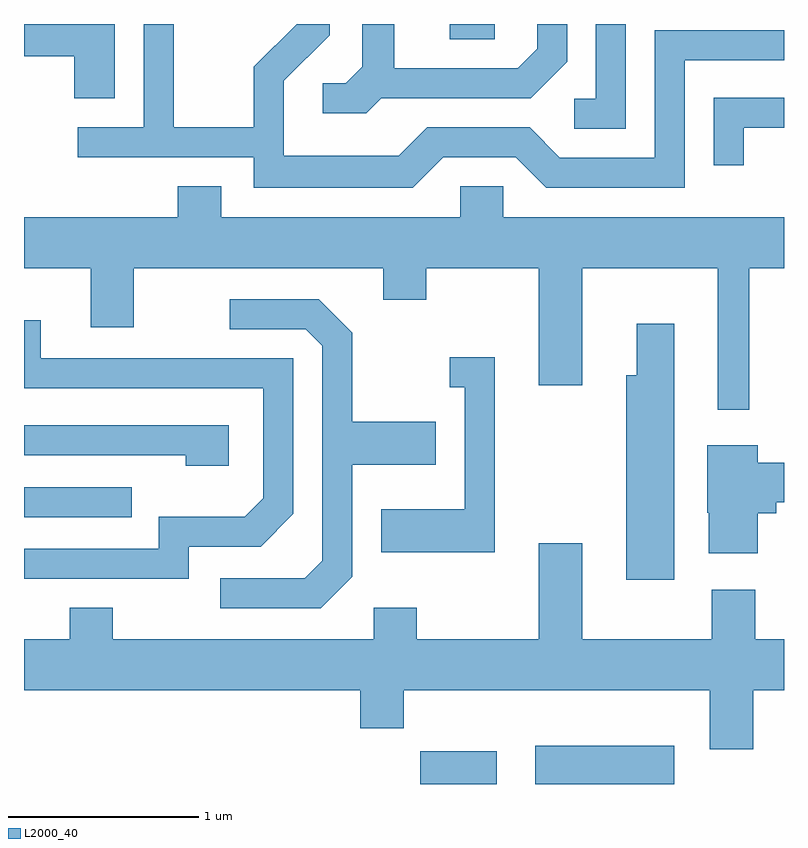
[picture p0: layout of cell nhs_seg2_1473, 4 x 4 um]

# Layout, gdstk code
import gdstk
lib = gdstk.Library(unit=1e-6, precision=1e-09)
def R(c, l, rs):  # rectangles x0, y0, x1, y1
    for r in rs: c.add(gdstk.rectangle(r[:2], r[2:], *l))
def P(c, l, *ps):  # polygons
    for p in ps: c.add(gdstk.Polygon(p, *l))
L2000_40 = (2000, 40)

nhs_seg2_1473 = lib.new_cell('nhs_seg2_1473')
R(nhs_seg2_1473, L2000_40, [(229.696,1067.802,230.099,1067.974), (230.301,1067.802,231.034,1068.004), (227.611,1069.206,228.178,1069.364), (229.851,1071.721,230.089,1071.802)])
P(nhs_seg2_1473, L2000_40, [(229.492,1071.411),(230.277,1071.411),(230.469,1071.604),(230.469,1071.802),(230.311,1071.802),(230.311,1071.672),(230.209,1071.569),(229.559,1071.569),(229.559,1071.802),(229.391,1071.802),(229.391,1071.577),(229.304,1071.489),(229.183,1071.489),(229.183,1071.331),(229.412,1071.331)],
  [(230.779,1071.802),(230.621,1071.802),(230.621,1071.409),(230.508,1071.409),(230.508,1071.251),(230.779,1071.251)],
  [(229.817,1071.101),(230.199,1071.101),(230.359,1070.941),(231.089,1070.941),(231.089,1071.611),(231.611,1071.611),(231.611,1071.769),(230.931,1071.769),(230.931,1071.099),(230.432,1071.099),(230.272,1071.259),(229.734,1071.259),(229.584,1071.109),(228.979,1071.109),(228.979,1071.504),(229.219,1071.744),(229.219,1071.802),(229.046,1071.802),(228.821,1071.577),(228.821,1071.259),(228.399,1071.259),(228.399,1071.802),(228.241,1071.802),(228.241,1071.259),(227.893,1071.259),(227.893,1071.101),(228.821,1071.101),(228.821,1070.941),(229.657,1070.941)],
  [(228.089,1071.802),(227.611,1071.802),(227.611,1071.631),(227.876,1071.631),(227.876,1071.411),(228.089,1071.411)],
  [(231.399,1071.256),(231.611,1071.256),(231.611,1071.414),(231.241,1071.414),(231.241,1071.058),(231.399,1071.058)],
  [(231.429,1070.516),(231.611,1070.516),(231.611,1070.784),(230.134,1070.784),(230.134,1070.949),(229.906,1070.949),(229.906,1070.784),(228.649,1070.784),(228.649,1070.949),(228.421,1070.949),(228.421,1070.784),(227.611,1070.784),(227.611,1070.516),(227.961,1070.516),(227.961,1070.206),(228.189,1070.206),(228.189,1070.516),(229.501,1070.516),(229.501,1070.351),(229.729,1070.351),(229.729,1070.516),(230.321,1070.516),(230.321,1069.901),(230.549,1069.901),(230.549,1070.516),(231.261,1070.516),(231.261,1069.773),(231.429,1069.773)],
  [(229.339,1068.894),(229.339,1069.481),(229.779,1069.481),(229.779,1069.709),(229.339,1069.709),(229.339,1070.177),(229.162,1070.354),(228.693,1070.354),(228.693,1070.196),(229.094,1070.196),(229.181,1070.109),(229.181,1068.977),(229.089,1068.884),(228.643,1068.884),(228.643,1068.726),(229.172,1068.726)],
  [(228.479,1069.051),(228.857,1069.051),(229.029,1069.224),(229.029,1070.044),(227.699,1070.044),(227.699,1070.243),(227.611,1070.243),(227.611,1069.886),(228.871,1069.886),(228.871,1069.307),(228.774,1069.209),(228.321,1069.209),(228.321,1069.039),(227.611,1069.039),(227.611,1068.881),(228.479,1068.881)],
  [(231.034,1070.224),(230.836,1070.224),(230.836,1069.954),(230.781,1069.954),(230.781,1068.876),(231.034,1068.876)],
  [(230.089,1070.049),(229.853,1070.049),(229.853,1069.891),(229.931,1069.891),(229.931,1069.249),(229.491,1069.249),(229.491,1069.021),(230.089,1069.021)],
  [(228.689,1069.689),(227.611,1069.689),(227.611,1069.531),(228.461,1069.531),(228.461,1069.476),(228.689,1069.476)],
  [(231.474,1069.226),(231.569,1069.226),(231.569,1069.286),(231.611,1069.286),(231.611,1069.494),(231.474,1069.494),(231.474,1069.584),(231.206,1069.584),(231.206,1069.23),(231.216,1069.23),(231.216,1069.016),(231.474,1069.016)],
  [(231.449,1068.296),(231.611,1068.296),(231.611,1068.564),(231.459,1068.564),(231.459,1068.824),(231.231,1068.824),(231.231,1068.564),(230.549,1068.564),(230.549,1069.069),(230.321,1069.069),(230.321,1068.564),(229.679,1068.564),(229.679,1068.729),(229.451,1068.729),(229.451,1068.564),(228.079,1068.564),(228.079,1068.729),(227.851,1068.729),(227.851,1068.564),(227.611,1068.564),(227.611,1068.296),(229.381,1068.296),(229.381,1068.096),(229.609,1068.096),(229.609,1068.296),(231.221,1068.296),(231.221,1067.986),(231.449,1067.986)])

lib.write_gds('nhs_seg2_1473.gds')
